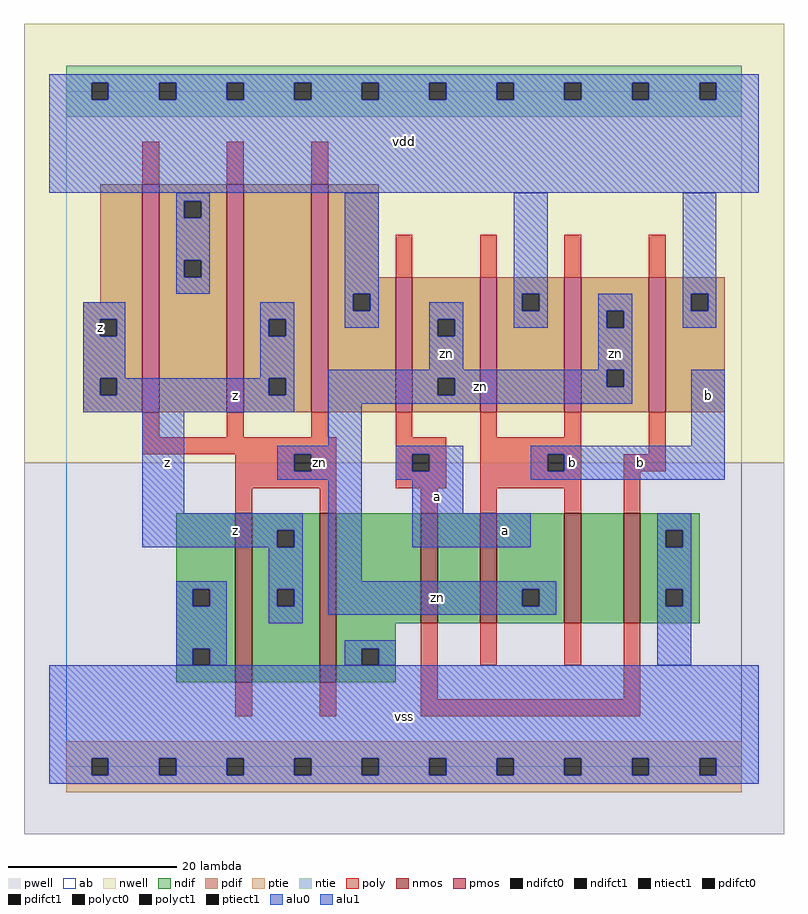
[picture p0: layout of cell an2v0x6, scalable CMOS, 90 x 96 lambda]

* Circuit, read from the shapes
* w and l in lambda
.subckt an2v0x6 a b vdd vss z zn
M1 z zn vss vss nfet w=20 l=2 m=2
M2 n1 a vss vss nfet w=13 l=2
M3 zn b n1 vss nfet w=13 l=2
M4 n2 b zn vss nfet w=13 l=2
M5 vss a n2 vss nfet w=13 l=2
M6 vdd zn z vdd pfet w=27 l=2 m=3
M7 zn a vdd vdd pfet w=16 l=2 m=2
M8 vdd b zn vdd pfet w=16 l=2 m=2
.ends

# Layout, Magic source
magic
tech scmos
<< ab >>
rect 0 0 80 80
<< nwell >>
rect -5 36 85 88
<< pwell >>
rect -5 -8 85 36
<< poly >>
rect 9 69 11 74
rect 19 69 21 74
rect 29 69 31 74
rect 39 58 41 63
rect 49 58 51 63
rect 59 58 61 63
rect 69 58 71 63
rect 9 39 11 42
rect 19 39 21 42
rect 29 39 31 42
rect 39 39 41 42
rect 49 39 51 42
rect 59 39 61 42
rect 9 37 32 39
rect 20 35 27 37
rect 29 35 32 37
rect 20 33 32 35
rect 39 37 45 39
rect 39 35 41 37
rect 43 35 45 37
rect 39 33 45 35
rect 49 37 61 39
rect 69 37 71 42
rect 49 35 57 37
rect 59 35 61 37
rect 49 33 61 35
rect 20 30 22 33
rect 30 30 32 33
rect 42 30 44 33
rect 49 30 51 33
rect 59 30 61 33
rect 66 35 71 37
rect 66 30 68 35
rect 20 6 22 10
rect 30 6 32 10
rect 42 8 44 17
rect 49 12 51 17
rect 59 12 61 17
rect 66 8 68 17
rect 42 6 68 8
<< ndif >>
rect 13 21 20 30
rect 13 19 15 21
rect 17 19 20 21
rect 13 14 20 19
rect 13 12 15 14
rect 17 12 20 14
rect 13 10 20 12
rect 22 28 30 30
rect 22 26 25 28
rect 27 26 30 28
rect 22 21 30 26
rect 22 19 25 21
rect 27 19 30 21
rect 22 10 30 19
rect 32 17 42 30
rect 44 17 49 30
rect 51 21 59 30
rect 51 19 54 21
rect 56 19 59 21
rect 51 17 59 19
rect 61 17 66 30
rect 68 28 75 30
rect 68 26 71 28
rect 73 26 75 28
rect 68 21 75 26
rect 68 19 71 21
rect 73 19 75 21
rect 68 17 75 19
rect 32 14 39 17
rect 32 12 35 14
rect 37 12 39 14
rect 32 10 39 12
<< pdif >>
rect 4 55 9 69
rect 2 53 9 55
rect 2 51 4 53
rect 6 51 9 53
rect 2 46 9 51
rect 2 44 4 46
rect 6 44 9 46
rect 2 42 9 44
rect 11 67 19 69
rect 11 65 14 67
rect 16 65 19 67
rect 11 60 19 65
rect 11 58 14 60
rect 16 58 19 60
rect 11 42 19 58
rect 21 53 29 69
rect 21 51 24 53
rect 26 51 29 53
rect 21 46 29 51
rect 21 44 24 46
rect 26 44 29 46
rect 21 42 29 44
rect 31 58 37 69
rect 31 56 39 58
rect 31 54 34 56
rect 36 54 39 56
rect 31 42 39 54
rect 41 53 49 58
rect 41 51 44 53
rect 46 51 49 53
rect 41 46 49 51
rect 41 44 44 46
rect 46 44 49 46
rect 41 42 49 44
rect 51 56 59 58
rect 51 54 54 56
rect 56 54 59 56
rect 51 42 59 54
rect 61 54 69 58
rect 61 52 64 54
rect 66 52 69 54
rect 61 47 69 52
rect 61 45 64 47
rect 66 45 69 47
rect 61 42 69 45
rect 71 56 78 58
rect 71 54 74 56
rect 76 54 78 56
rect 71 42 78 54
<< alu1 >>
rect -2 81 82 82
rect -2 79 3 81
rect 5 79 11 81
rect 13 79 19 81
rect 21 79 27 81
rect 29 79 35 81
rect 37 79 43 81
rect 45 79 51 81
rect 53 79 59 81
rect 61 79 67 81
rect 69 79 75 81
rect 77 79 82 81
rect -2 68 82 79
rect 2 53 7 55
rect 2 51 4 53
rect 6 51 7 53
rect 2 46 7 51
rect 23 53 27 55
rect 23 51 24 53
rect 26 51 27 53
rect 23 46 27 51
rect 2 44 4 46
rect 6 44 24 46
rect 26 44 27 46
rect 2 42 27 44
rect 9 30 14 42
rect 74 38 78 47
rect 39 37 47 38
rect 39 35 41 37
rect 43 35 47 37
rect 39 34 47 35
rect 55 37 78 38
rect 55 35 57 37
rect 59 35 78 37
rect 55 34 78 35
rect 9 28 28 30
rect 9 26 25 28
rect 27 26 28 28
rect 24 21 28 26
rect 24 19 25 21
rect 27 19 28 21
rect 24 17 28 19
rect 41 30 47 34
rect 41 26 55 30
rect -2 1 82 12
rect -2 -1 3 1
rect 5 -1 11 1
rect 13 -1 19 1
rect 21 -1 27 1
rect 29 -1 35 1
rect 37 -1 43 1
rect 45 -1 51 1
rect 53 -1 59 1
rect 61 -1 67 1
rect 69 -1 75 1
rect 77 -1 82 1
rect -2 -2 82 -1
<< ptie >>
rect 0 1 80 3
rect 0 -1 3 1
rect 5 -1 11 1
rect 13 -1 19 1
rect 21 -1 27 1
rect 29 -1 35 1
rect 37 -1 43 1
rect 45 -1 51 1
rect 53 -1 59 1
rect 61 -1 67 1
rect 69 -1 75 1
rect 77 -1 80 1
rect 0 -3 80 -1
<< ntie >>
rect 0 81 80 83
rect 0 79 3 81
rect 5 79 11 81
rect 13 79 19 81
rect 21 79 27 81
rect 29 79 35 81
rect 37 79 43 81
rect 45 79 51 81
rect 53 79 59 81
rect 61 79 67 81
rect 69 79 75 81
rect 77 79 80 81
rect 0 77 80 79
<< nmos >>
rect 20 10 22 30
rect 30 10 32 30
rect 42 17 44 30
rect 49 17 51 30
rect 59 17 61 30
rect 66 17 68 30
<< pmos >>
rect 9 42 11 69
rect 19 42 21 69
rect 29 42 31 69
rect 39 42 41 58
rect 49 42 51 58
rect 59 42 61 58
rect 69 42 71 58
<< polyct0 >>
rect 27 35 29 37
<< polyct1 >>
rect 41 35 43 37
rect 57 35 59 37
<< ndifct0 >>
rect 15 19 17 21
rect 15 12 17 14
rect 54 19 56 21
rect 71 26 73 28
rect 71 19 73 21
rect 35 12 37 14
<< ndifct1 >>
rect 25 26 27 28
rect 25 19 27 21
<< ntiect1 >>
rect 3 79 5 81
rect 11 79 13 81
rect 19 79 21 81
rect 27 79 29 81
rect 35 79 37 81
rect 43 79 45 81
rect 51 79 53 81
rect 59 79 61 81
rect 67 79 69 81
rect 75 79 77 81
<< ptiect1 >>
rect 3 -1 5 1
rect 11 -1 13 1
rect 19 -1 21 1
rect 27 -1 29 1
rect 35 -1 37 1
rect 43 -1 45 1
rect 51 -1 53 1
rect 59 -1 61 1
rect 67 -1 69 1
rect 75 -1 77 1
<< pdifct0 >>
rect 14 65 16 67
rect 14 58 16 60
rect 34 54 36 56
rect 44 51 46 53
rect 44 44 46 46
rect 54 54 56 56
rect 64 52 66 54
rect 64 45 66 47
rect 74 54 76 56
<< pdifct1 >>
rect 4 51 6 53
rect 4 44 6 46
rect 24 51 26 53
rect 24 44 26 46
<< alu0 >>
rect 13 67 17 68
rect 13 65 14 67
rect 16 65 17 67
rect 13 60 17 65
rect 13 58 14 60
rect 16 58 17 60
rect 13 56 17 58
rect 33 56 37 68
rect 33 54 34 56
rect 36 54 37 56
rect 53 56 57 68
rect 73 56 77 68
rect 33 52 37 54
rect 43 53 47 55
rect 43 51 44 53
rect 46 51 47 53
rect 53 54 54 56
rect 56 54 57 56
rect 53 52 57 54
rect 63 54 67 56
rect 63 52 64 54
rect 66 52 67 54
rect 73 54 74 56
rect 76 54 77 56
rect 73 52 77 54
rect 43 47 47 51
rect 63 47 67 52
rect 31 46 64 47
rect 31 44 44 46
rect 46 45 64 46
rect 66 45 67 47
rect 46 44 67 45
rect 31 43 67 44
rect 31 38 35 43
rect 25 37 35 38
rect 25 35 27 37
rect 29 35 35 37
rect 25 34 35 35
rect 13 21 19 22
rect 13 19 15 21
rect 17 19 19 21
rect 13 14 19 19
rect 31 22 35 34
rect 70 28 74 30
rect 70 26 71 28
rect 73 26 74 28
rect 31 21 58 22
rect 31 19 54 21
rect 56 19 58 21
rect 31 18 58 19
rect 70 21 74 26
rect 70 19 71 21
rect 73 19 74 21
rect 13 12 15 14
rect 17 12 19 14
rect 33 14 39 15
rect 33 12 35 14
rect 37 12 39 14
rect 70 12 74 19
<< labels >>
rlabel alu0 30 36 30 36 6 zn
rlabel alu0 44 20 44 20 6 zn
rlabel alu0 45 49 45 49 6 zn
rlabel alu0 49 45 49 45 6 zn
rlabel alu0 65 49 65 49 6 zn
rlabel alu1 12 36 12 36 6 z
rlabel alu1 4 52 4 52 6 z
rlabel alu1 20 28 20 28 6 z
rlabel alu1 20 44 20 44 6 z
rlabel alu1 40 6 40 6 6 vss
rlabel alu1 44 32 44 32 6 a
rlabel alu1 52 28 52 28 6 a
rlabel alu1 40 74 40 74 6 vdd
rlabel alu1 60 36 60 36 6 b
rlabel alu1 68 36 68 36 6 b
rlabel alu1 76 44 76 44 6 b
<< end >>
